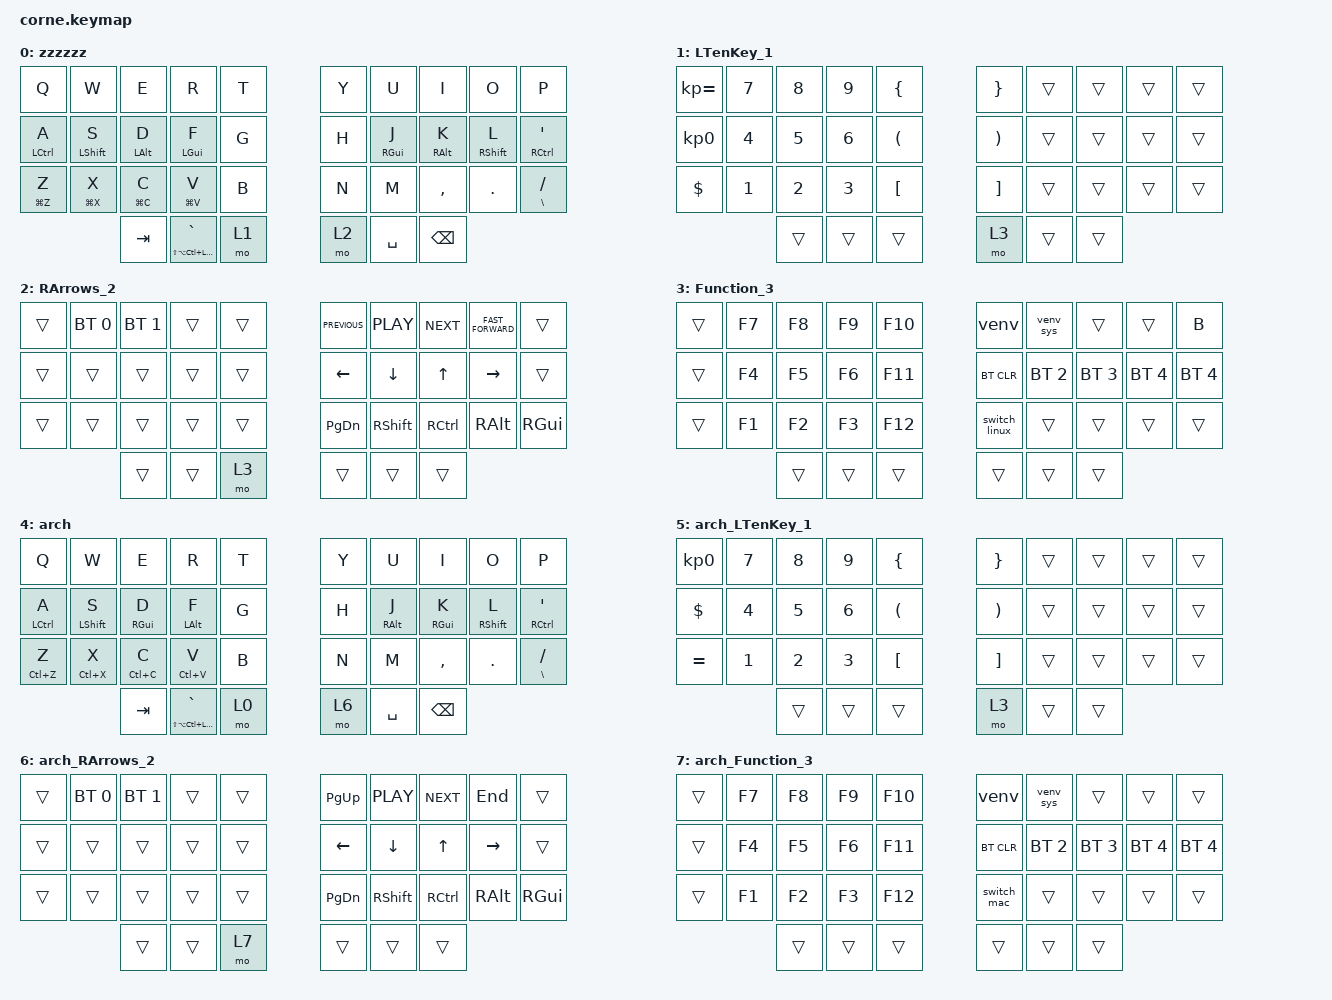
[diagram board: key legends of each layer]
/*
 * Copyright (c) 2020 The ZMK Contributors
 *
 * SPDX-License-Identifier: MIT
 */

#include <dt-bindings/zmk/mouse.h>
#include <behaviors.dtsi>
#include <dt-bindings/zmk/bt.h>
#include <dt-bindings/zmk/keys.h>

#define AS(keycode) &as LS(keycode) keycode

/ {
    chosen { zmk,matrix_transform = &five_column_transform; };

    combos {
        compatible = "zmk,combos";

        ent_combo {
            bindings = <&kp ENTER>;
            key-positions = <17 18>;
            timeout-ms = <200>;
            require-prior-idle-ms = <100>;
            layers = <0 1 2 3 5 6 7 4>;
        };

        bcsp {
            bindings = <&kp BACKSPACE>;
            key-positions = <28 27>;
            timeout-ms = <400>;
            require-prior-idle-ms = <100>;
        };

        equals {
            bindings = <&kp EQUAL>;
            key-positions = <14 15>;
            timeout-ms = <400>;
            require-prior-idle-ms = <100>;
        };

        minus {
            bindings = <&kp MINUS>;
            key-positions = <3 6>;
            timeout-ms = <400>;
            require-prior-idle-ms = <100>;
            layers = <0 4 1 5 3 7 2 6>;
        };

        underscore {
            bindings = <&kp UNDER>;
            key-positions = <40 45 26 23>;
            timeout-ms = <400>;
            require-prior-idle-ms = <100>;
            layers = <1 5 0 4 2 6 3 7>;
        };

        esc {
            bindings = <&kp ESCAPE>;
            key-positions = <16 17>;
            timeout-ms = <50>;
            require-prior-idle-ms = <100>;
        };

        semicolon {
            bindings = <&kp SEMICOLON>;
            key-positions = <18 19>;
        };

        tmuxmod {
            bindings = <&kp LC(SPACE)>;
            key-positions = <11 12>;
            layers = <0 4 1 5 3 7 2 6>;
        };

        aerospacemod {
            bindings = <&kp LA(LS(SEMI))>;
            key-positions = <21 22>;
            layers = <0 1 5 2 6 4 3 7>;
        };

        tab {
            bindings = <&kp TAB>;
            key-positions = <1 2>;
            layers = <0 1 2 3 5 4 6 7>;
        };

        backslash {
            bindings = <&kp BACKSLASH>;
            key-positions = <7 8>;
            layers = <0 1 2 3 4 5 6 7>;
        };

        back_tick {
            bindings = <&kp GRAVE>;
            key-positions = <11 10>;
            layers = <0 4 1 2 3 5 6 7>;
        };
    };

    behaviors {
        hml: hml {
            compatible = "zmk,behavior-hold-tap";
            label = "HML";
            bindings = <&kp>, <&kp>;

            #binding-cells = <2>;
            tapping-term-ms = <269>;
            quick-tap-ms = <175>;
            flavor = "balanced";
            hold-trigger-key-positions = <0 1 2 3 4 12 13 14 24 36 37 38 39 40 41 42 50 51 52 53 10 11 23 21 20 22 30 31 32 33>;
            hold-trigger-on-release;
            require-prior-idle-ms = <111>;
        };

        hmr: hmr {
            compatible = "zmk,behavior-hold-tap";
            label = "HMR";
            bindings = <&kp>, <&kp>;

            #binding-cells = <2>;
            tapping-term-ms = <269>;
            quick-tap-ms = <175>;
            flavor = "balanced";
            hold-trigger-on-release;
            hold-trigger-key-positions = <6 7 8 9 18 19 33 34 35 43 44 45 46 47 48 49 54 55 56 57 5 6 7 8 9 15 16 17 18 19 25 26 27 28 29 33 34 35>;
            require-prior-idle-ms = <111>;
        };
    };

    macros {
        venv: venv {
            compatible = "zmk,behavior-macro";
            #binding-cells = <0>;
            bindings = <&kp O &kp H &kp SPACE &kp H &kp O &kp W &kp SPACE &kp T &kp H &kp E &kp SPACE &kp T &kp U &kp R &kp N &kp SPACE &kp T &kp A &kp B &kp L &kp E &kp S &kp ENTER>;
            label = "VENV";
            wait-ms = <40>;
            tap-ms = <40>;
        };

        venv_sys: venv_sys {
            compatible = "zmk,behavior-macro";
            #binding-cells = <0>;
            bindings = <&kp D &kp E &kp V &kp I &kp L &kp MINUS &kp B &kp L &kp O &kp O &kp D &kp MINUS &kp C &kp O &kp N &kp T &kp R &kp A &kp C &kp T &kp MINUS &kp F &kp I &kp G &kp H &kp T &kp RETURN>;
            label = "VENV_SYS";
        };

        switch_linux: switch_linux {
            compatible = "zmk,behavior-macro";
            #binding-cells = <0>;
            bindings = <&bt BT_SEL 1 &to 4>;
            label = "SWITCH_LINUX";
        };

        switch_mac: switch_mac {
            compatible = "zmk,behavior-macro";
            #binding-cells = <0>;
            bindings = <&bt BT_SEL 0 &to 0>;
            label = "SWITCH_MAC";
        };
    };

    keymap {
        compatible = "zmk,keymap";

        mac_base {
            display-name = "zzzzzz";
            bindings = <
  &kp Q                &kp W              &kp E            &kp R                            &kp T    &kp Y  &kp U        &kp I             &kp O         &kp P
  &hml LEFT_CONTROL A  &hmr LEFT_SHIFT S  &hml LEFT_ALT D  &hml LGUI F                      &kp G    &kp H  &hmr RGUI J  &hml RIGHT_ALT K  &hmr RSHFT L  &hmr RIGHT_CONTROL SQT
  &hml LG(Z) Z         &hml LG(X) X       &hml LG(C) C     &hml LG(V) V                     &kp B    &kp N  &kp M        &kp COMMA         &kp PERIOD    &hmr BACKSLASH SLASH
                                          &kp TAB          &hml LS(LA(LC(LEFT_GUI))) GRAVE  &mo 1    &mo 2  &kp SPACE    &kp BACKSPACE
            >;
        };

        mac_lay1 {
            bindings = <
  &kp KP_EQUAL     &kp N7  &kp N8  &kp N9  &kp LEFT_BRACE          &kp RIGHT_BRACE        &trans  &trans  &trans  &trans
  &kp KP_NUMBER_0  &kp N4  &kp N5  &kp N6  &kp LEFT_PARENTHESIS    &kp RIGHT_PARENTHESIS  &trans  &trans  &trans  &trans
  &kp DOLLAR       &kp N1  &kp N2  &kp N3  &kp LEFT_BRACKET        &kp RIGHT_BRACKET      &trans  &trans  &trans  &trans
                           &trans  &trans  &trans                  &mo 3                  &trans  &trans
            >;

            label = "LTenKey_1";
        };

        mac_lay2 {
            label = "RArrows_2";
            bindings = <
  &trans  &bt BT_SEL 0  &bt BT_SEL 1  &trans  &trans    &kp C_PREVIOUS  &kp C_PLAY       &kp C_NEXT         &kp C_FAST_FORWARD  &trans
  &trans  &trans        &trans        &trans  &trans    &kp LEFT        &kp DOWN         &kp UP_ARROW       &kp RIGHT           &trans
  &trans  &trans        &trans        &trans  &trans    &kp PAGE_DOWN   &kp RIGHT_SHIFT  &kp RIGHT_CONTROL  &kp RALT            &kp RGUI
                        &trans        &trans  &mo 3     &trans          &trans           &trans
            >;
        };

        mac_lay3 {
            bindings = <
  &trans  &kp F7  &kp F8  &kp F9  &kp F10    &venv          &venv_sys     &trans        &trans        &kp B
  &trans  &kp F4  &kp F5  &kp F6  &kp F11    &bt BT_CLR     &bt BT_SEL 2  &bt BT_SEL 3  &bt BT_SEL 4  &bt BT_SEL 4
  &trans  &kp F1  &kp F2  &kp F3  &kp F12    &switch_linux  &trans        &trans        &trans        &trans
                  &trans  &trans  &trans     &trans         &trans        &trans
            >;

            label = "Function_3";
        };

        arch_base {
            display-name = "arch";
            bindings = <
  &kp Q                &kp W              &kp E             &kp R                            &kp T    &kp Y  &kp U             &kp I             &kp O         &kp P
  &hml LEFT_CONTROL A  &hmr LEFT_SHIFT S  &hml RIGHT_GUI D  &hml LALT F                      &kp G    &kp H  &hmr RIGHT_ALT J  &hml RIGHT_GUI K  &hmr RSHFT L  &hmr RIGHT_CONTROL SQT
  &hml LC(Z) Z         &hml LC(X) X       &hml LC(C) C      &hml LC(V) V                     &kp B    &kp N  &kp M             &kp COMMA         &kp PERIOD    &hmr BACKSLASH SLASH
                                          &kp TAB           &hml LS(LA(LC(LEFT_GUI))) GRAVE  &mo 0    &mo 6  &kp SPACE         &kp BACKSPACE
            >;
        };

        arch_lay1 {
            label = "arch_LTenKey_1";
            bindings = <
  &kp KP_NUMBER_0  &kp N7  &kp N8  &kp N9  &kp LEFT_BRACE          &kp RIGHT_BRACE        &trans  &trans  &trans  &trans
  &kp DOLLAR       &kp N4  &kp N5  &kp N6  &kp LEFT_PARENTHESIS    &kp RIGHT_PARENTHESIS  &trans  &trans  &trans  &trans
  &kp EQUAL        &kp N1  &kp N2  &kp N3  &kp LEFT_BRACKET        &kp RIGHT_BRACKET      &trans  &trans  &trans  &trans
                           &trans  &trans  &trans                  &mo 3                  &trans  &trans
            >;
        };

        arch_lay2 {
            label = "arch_RArrows_2";
            bindings = <
  &trans  &bt BT_SEL 0  &bt BT_SEL 1  &trans  &trans    &kp PAGE_UP    &kp C_PLAY       &kp C_NEXT         &kp END    &trans
  &trans  &trans        &trans        &trans  &trans    &kp LEFT       &kp DOWN         &kp UP_ARROW       &kp RIGHT  &trans
  &trans  &trans        &trans        &trans  &trans    &kp PAGE_DOWN  &kp RIGHT_SHIFT  &kp RIGHT_CONTROL  &kp RALT   &kp RGUI
                        &trans        &trans  &mo 7     &trans         &trans           &trans
            >;
        };

        arch_lay3 {
            label = "arch_Function_3";
            bindings = <
  &trans  &kp F7  &kp F8  &kp F9  &kp F10    &venv        &venv_sys     &trans        &trans        &trans
  &trans  &kp F4  &kp F5  &kp F6  &kp F11    &bt BT_CLR   &bt BT_SEL 2  &bt BT_SEL 3  &bt BT_SEL 4  &bt BT_SEL 4
  &trans  &kp F1  &kp F2  &kp F3  &kp F12    &switch_mac  &trans        &trans        &trans        &trans
                  &trans  &trans  &trans     &trans       &trans        &trans
            >;
        };
    };

    conditional_layers { compatible = "zmk,conditional-layers"; };
};
